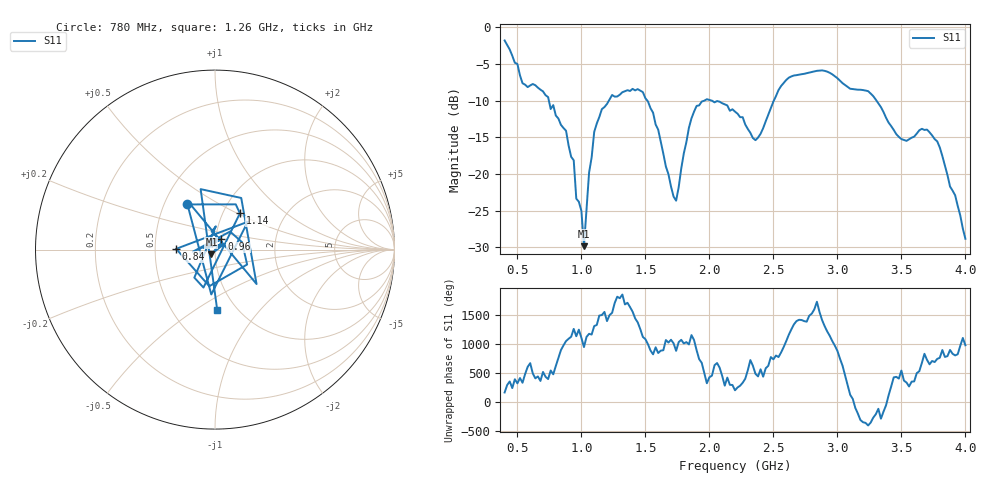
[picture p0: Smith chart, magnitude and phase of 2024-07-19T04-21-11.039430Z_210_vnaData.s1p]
!Created with skrf (http://scikit-rf.org).
# Hz S RI R 50.0
!freq ReS11 ImS11
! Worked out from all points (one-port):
!   181 points, 400 MHz to 4 GHz, reference 50 ohm
!   lowest |S11| = -29.8 dB at 1.02 GHz (marker M1), VSWR 1.07, Z = 48 - j2.42 ohm
!   |S11| at or under -10 dB: 746.1 MHz to 1.214 GHz (468.2 MHz wide, 47.8 % of centre); 2.021 GHz to 2.503 GHz (482.1 MHz wide, 21.3 % of centre); 3.306 GHz to end of sweep (the widest 3 of 4)
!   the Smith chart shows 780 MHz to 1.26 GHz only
!   S11 on the Smith chart (normalised r, x): 780 MHz: 0.65, +0.36; 840 MHz: 0.64, +0.01; 960 MHz: 1.07, +0.12; 1.14 GHz: 1.20, +0.52; 1.26 GHz: 0.81, -0.62
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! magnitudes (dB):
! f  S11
! 400 MHz  -1.8
! 540 MHz  -7.6
! 780 MHz  -10.6
! 840 MHz  -13.3
! 860 MHz  -13.7
! 940 MHz  -18.1
! 960 MHz  -23.4
! 1 GHz  -25.0
! 1.02 GHz  -29.8
! 1.06 GHz  -19.8
! 1.1 GHz  -14.2
! 1.14 GHz  -12.2
! 1.26 GHz  -9.4
! 1.3 GHz  -9.2
! 1.48 GHz  -8.8
! 1.6 GHz  -13.9
! 1.72 GHz  -23.1
! 1.76 GHz  -21.8
! 1.84 GHz  -13.7
! 1.9 GHz  -10.7
! 2.2 GHz  -11.5
! 2.36 GHz  -15.4
! 2.66 GHz  -6.6
! 3.1 GHz  -8.4
! 3.24 GHz  -8.7
! 3.56 GHz  -15.3
! 3.78 GHz  -15.5
! 4 GHz  -28.8
